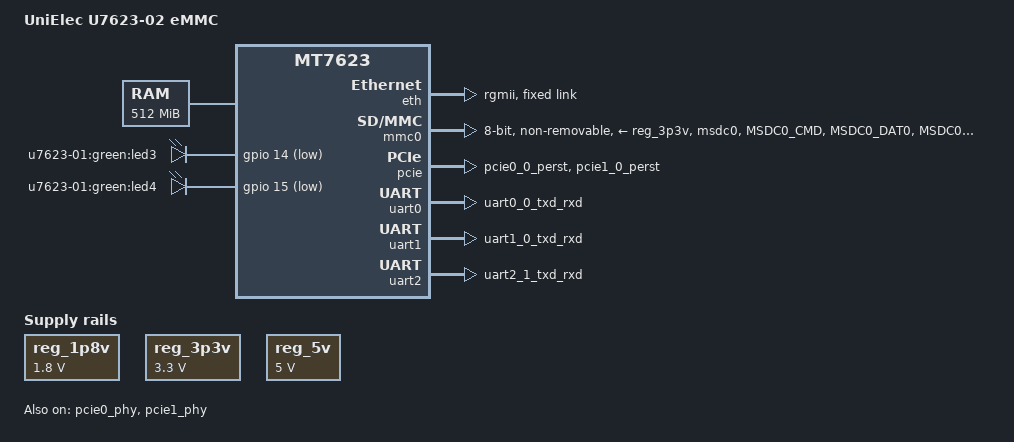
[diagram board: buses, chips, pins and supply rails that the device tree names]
/*
 * Copyright (C) 2018 MediaTek Inc.
 * Author: Ryder Lee <ryder.lee@mediatek.com>
 *
 * SPDX-License-Identifier: (GPL-2.0 OR MIT)
 */

/dts-v1/;
#include "mt7623.dtsi"
#include "mt7623-u-boot.dtsi"

/ {
	model = "UniElec U7623-02 eMMC";
	compatible = "unielec,u7623-02-emmc", "mediatek,mt7623";

	memory@80000000 {
		device_type = "memory";
		reg = <0 0x80000000 0 0x20000000>;
	};

	chosen {
		stdout-path = &uart2;
		tick-timer = &timer0;
	};

	reg_1p8v: regulator-1p8v {
		compatible = "regulator-fixed";
		regulator-name = "fixed-1.8V";
		regulator-min-microvolt = <1800000>;
		regulator-max-microvolt = <1800000>;
		regulator-boot-on;
		regulator-always-on;
	};

	reg_3p3v: regulator-3p3v {
		compatible = "regulator-fixed";
		regulator-name = "fixed-3.3V";
		regulator-min-microvolt = <3300000>;
		regulator-max-microvolt = <3300000>;
		regulator-boot-on;
		regulator-always-on;
	};

	reg_5v: regulator-5v {
		compatible = "regulator-fixed";
		regulator-name = "fixed-5V";
		regulator-min-microvolt = <5000000>;
		regulator-max-microvolt = <5000000>;
		regulator-boot-on;
		regulator-always-on;
	};

	leds {
		compatible = "gpio-leds";

		led3 {
			label = "u7623-01:green:led3";
			gpios = <&gpio 14 GPIO_ACTIVE_LOW>;
			default-state = "off";
		};

		led4 {
			label = "u7623-01:green:led4";
			gpios = <&gpio 15 GPIO_ACTIVE_LOW>;
			default-state = "off";
		};
	};
};

&eth {
	status = "okay";
	mediatek,gmac-id = <0>;
	phy-mode = "rgmii";
	mediatek,switch = "mt7530";
	mediatek,mcm;

	fixed-link {
		speed = <1000>;
		full-duplex;
	};
};

&mmc0 {
	pinctrl-names = "default";
	pinctrl-0 = <&mmc0_pins_default>;
	status = "okay";
	bus-width = <8>;
	max-frequency = <50000000>;
	cap-mmc-highspeed;
	vmmc-supply = <&reg_3p3v>;
	vqmmc-supply = <&reg_1p8v>;
	non-removable;
};

&pinctrl {
	ephy_default: ephy_default {
		mux {
			function = "eth";
			groups = "mdc_mdio", "ephy";
		};

		conf {
			pins = "G2_TXEN", "G2_TXD0", "G2_TXD1", "G2_TXD2",
			       "G2_TXD3", "G2_TXC", "G2_RXC", "G2_RXD0",
			       "G2_RXD1", "G2_RXD2", "G2_RXD3", "G2_RXDV",
			       "MDC", "MDIO";
			drive-strength = <12>;
			mediatek,tdsel = <5>;
		};
	};

	mmc0_pins_default: mmc0default {
		mux {
			function = "msdc";
			groups =  "msdc0";
		};

		conf-cmd-data {
			pins = "MSDC0_CMD", "MSDC0_DAT0", "MSDC0_DAT1",
			       "MSDC0_DAT2", "MSDC0_DAT3", "MSDC0_DAT4",
			       "MSDC0_DAT5", "MSDC0_DAT6", "MSDC0_DAT7";
			input-enable;
			bias-pull-up;
		};

		conf-clk {
			pins = "MSDC0_CLK";
			bias-pull-down;
		};

		conf-rst {
			pins = "MSDC0_RSTB";
			bias-pull-up;
		};
	};

	pcie_default: pcie-default {
		mux {
			function = "pcie";
			groups =  "pcie0_0_perst", "pcie1_0_perst";
		};
	};

	uart0_pins_a: uart0-default {
		mux {
			function = "uart";
			groups =  "uart0_0_txd_rxd";
		};
	};

	uart1_pins_a: uart1-default {
		mux {
			function = "uart";
			groups =  "uart1_0_txd_rxd";
		};
	};

	uart2_pins_a: uart2-default {
		mux {
			function = "uart";
			groups =  "uart2_0_txd_rxd";
		};
	};

	uart2_pins_b: uart2-alt {
		mux {
			function = "uart";
			groups =  "uart2_1_txd_rxd";
		};
	};
};

&pcie {
	pinctrl-names = "default";
	pinctrl-0 = <&pcie_default>;
	status = "okay";

	pcie@0,0 {
		status = "okay";
	};

	pcie@1,0 {
		status = "okay";
	};
};

&pcie0_phy {
	status = "okay";
};

&pcie1_phy {
	status = "okay";
};

&uart0 {
	pinctrl-names = "default";
	pinctrl-0 = <&uart0_pins_a>;
	status = "okay";
};

&uart1 {
	pinctrl-names = "default";
	pinctrl-0 = <&uart1_pins_a>;
	status = "okay";
};

&uart2 {
	pinctrl-names = "default";
	pinctrl-0 = <&uart2_pins_b>;
	status = "okay";
};
